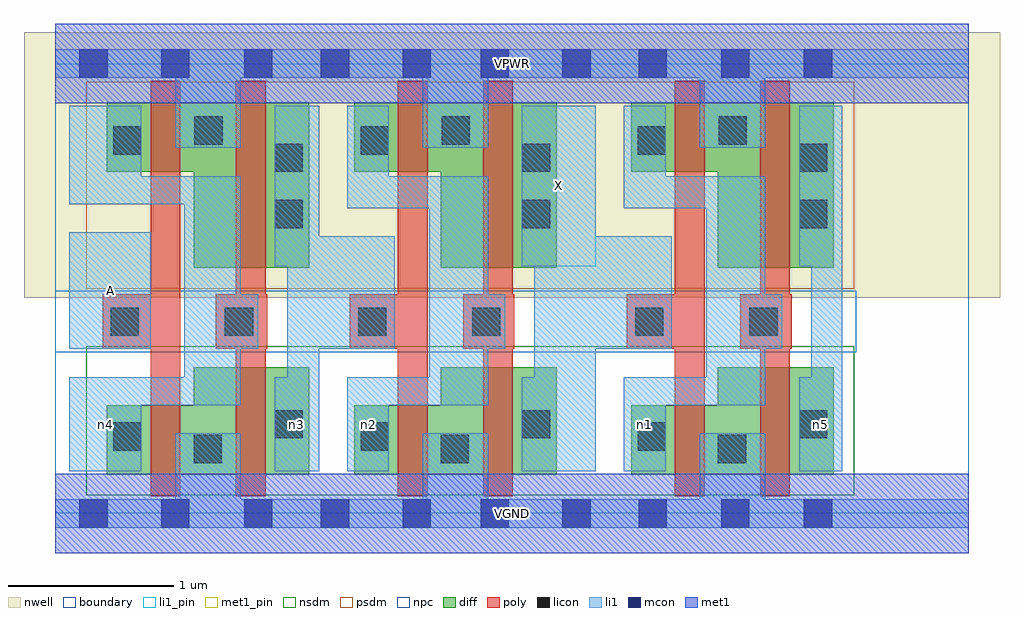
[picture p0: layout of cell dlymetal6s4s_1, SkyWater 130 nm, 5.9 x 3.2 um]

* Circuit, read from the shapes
.subckt dlymetal6s4s_1 A VGND VPWR X n1 n2 n3 n4 n5
XM1 VGND A n4 VSUBS sky130_fd_pr__nfet_01v8 w=0.42 l=0.18
XM2 n3 n4 VGND VSUBS sky130_fd_pr__nfet_01v8 w=0.65 l=0.18
XM3 VGND n3 n2 VSUBS sky130_fd_pr__nfet_01v8 w=0.42 l=0.18
XM4 X n2 VGND VSUBS sky130_fd_pr__nfet_01v8 w=0.65 l=0.18
XM5 VGND X n1 VSUBS sky130_fd_pr__nfet_01v8 w=0.42 l=0.18
XM6 n5 n1 VGND VSUBS sky130_fd_pr__nfet_01v8 w=0.65 l=0.18
XM7 VPWR A n4 n6 sky130_fd_pr__pfet_01v8 w=0.42 l=0.18
XM8 n3 n4 VPWR n6 sky130_fd_pr__pfet_01v8 w=1 l=0.18
XM9 VPWR n3 n2 n6 sky130_fd_pr__pfet_01v8 w=0.42 l=0.18
XM10 X n2 VPWR n6 sky130_fd_pr__pfet_01v8 w=1 l=0.18
XM11 VPWR X n1 n6 sky130_fd_pr__pfet_01v8 w=0.42 l=0.18
XM12 n5 n1 VPWR n6 sky130_fd_pr__pfet_01v8 w=1 l=0.18
.ends

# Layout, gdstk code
import gdstk
lib = gdstk.Library(unit=1e-6, precision=1e-09)
def R(c, l, rs):  # rectangles x0, y0, x1, y1
    for r in rs: c.add(gdstk.rectangle(r[:2], r[2:], *l))
def A(c, l, x, y, w, h, nx, ny, dx, dy):  # array of equal rectangles
    R(c, l, [(x+i*dx, y+j*dy, x+i*dx+w, y+j*dy+h) for i in range(nx) for j in range(ny)])
nwell = (64, 20)
diff = (65, 20)
poly = (66, 20)
licon = (66, 44)
li1_pin = (67, 16)
li1 = (67, 20)
mcon = (67, 44)
met1_pin = (68, 16)
met1 = (68, 20)
nsdm = (93, 44)
psdm = (94, 20)
npc = (95, 20)
boundary = (235, 4)

dlymetal6s4s_1 = lib.new_cell('dlymetal6s4s_1')
R(dlymetal6s4s_1, nwell, [(-0.19,1.305,5.71,2.91), (0,1.305,5.52,2.91)])
R(dlymetal6s4s_1, diff, [(0.31,0.235,1.535,0.655), (0.835,0.235,1.535,0.885), (1.805,0.235,3.03,0.655), (2.33,0.235,3.03,0.885), (3.48,0.235,4.705,0.655), (4.005,0.235,4.705,0.885), (0.835,1.485,1.535,2.485), (2.33,1.485,3.03,2.485), (4.005,1.485,4.705,2.485), (0.31,2.065,1.535,2.485), (1.805,2.065,3.03,2.485), (3.48,2.065,4.705,2.485)])
R(dlymetal6s4s_1, poly, [(0.575,0.105,0.755,2.615), (1.09,0.105,1.27,2.615), (2.07,0.105,2.25,2.615), (2.585,0.105,2.765,2.615), (3.745,0.105,3.925,2.615), (4.26,0.105,4.44,2.615), (0.285,0.995,0.755,1.325), (0.97,0.995,1.28,1.325), (1.78,0.995,2.25,1.325), (2.465,0.995,2.775,1.325), (3.455,0.995,3.925,1.325), (4.14,0.995,4.45,1.325)])
R(dlymetal6s4s_1, licon, [(0.835,0.305,1.005,0.475), (2.33,0.305,2.5,0.475), (4.005,0.305,4.175,0.475), (0.35,0.38,0.52,0.55), (1.845,0.38,2.015,0.55), (3.52,0.38,3.69,0.55), (1.325,0.455,1.495,0.625), (2.82,0.455,2.99,0.625), (4.495,0.455,4.665,0.625), (0.335,1.075,0.505,1.245), (1.025,1.075,1.195,1.245), (1.83,1.075,2,1.245), (2.52,1.075,2.69,1.245), (3.505,1.075,3.675,1.245), (4.195,1.075,4.365,1.245), (1.325,1.725,1.495,1.895), (2.82,1.725,2.99,1.895), (4.495,1.725,4.665,1.895), (1.325,2.065,1.495,2.235), (2.82,2.065,2.99,2.235), (4.495,2.065,4.665,2.235), (0.35,2.17,0.52,2.34), (1.845,2.17,2.015,2.34), (3.52,2.17,3.69,2.34), (0.84,2.23,1.01,2.4), (2.335,2.23,2.505,2.4), (4.01,2.23,4.18,2.4)])
R(dlymetal6s4s_1, li1_pin, [(0.085,0.995,0.575,1.7), (2.82,1.495,3.265,2.465)])
R(dlymetal6s4s_1, li1, [(0,-0.085,5.52,0.085), (0.725,-0.085,1.12,0.485), (2.22,-0.085,2.615,0.485), (3.895,-0.085,4.29,0.485), (0.085,0.255,0.52,0.825), (1.325,0.255,1.595,0.825), (1.4,0.255,1.595,2.465), (1.765,0.255,2.015,0.825), (2.82,0.255,3.265,0.825), (2.895,0.255,3.265,2.465), (3.435,0.255,3.69,0.825), (4.495,0.255,4.755,0.825), (4.57,0.255,4.755,2.465), (0.085,0.655,1.12,0.825), (0.78,0.655,1.12,2.04), (1.765,0.655,2.615,0.825), (2.26,0.655,2.615,2.04), (3.435,0.655,4.29,0.825), (3.935,0.655,4.29,2.04), (0.085,0.995,0.575,1.7), (0.78,0.995,1.225,1.325), (1.4,0.995,2.05,1.675), (2.26,0.995,2.72,1.325), (2.895,0.995,3.725,1.675), (3.935,0.995,4.395,1.325), (1.325,1.495,1.595,2.465), (2.82,1.495,3.265,2.465), (4.495,1.495,4.755,2.465), (1.765,1.845,2.015,2.465), (1.765,1.845,2.615,2.04), (3.435,1.845,3.69,2.465), (3.435,1.845,4.29,2.04), (0.085,1.87,1.12,2.04), (0.085,1.87,0.52,2.465), (0.725,2.21,1.12,2.805), (2.22,2.21,2.615,2.805), (3.895,2.21,4.29,2.805), (0,2.635,5.52,2.805)])
A(dlymetal6s4s_1, mcon, 3.525, -0.085, 0.17, 0.17, 3, 2, 0.5, 2.72)
R(dlymetal6s4s_1, mcon, [(0.145,-0.085,0.315,0.085), (0.64,-0.085,0.81,0.085), (1.14,-0.085,1.31,0.085), (1.605,-0.085,1.775,0.085), (2.1,-0.085,2.27,0.085), (2.57,-0.085,2.74,0.085), (3.065,-0.085,3.235,0.085), (0.145,2.635,0.315,2.805), (0.64,2.635,0.81,2.805), (1.14,2.635,1.31,2.805), (1.605,2.635,1.775,2.805), (2.1,2.635,2.27,2.805), (2.57,2.635,2.74,2.805), (3.065,2.635,3.235,2.805)])
R(dlymetal6s4s_1, met1_pin, [(0,-0.24,5.52,0.24), (0,2.48,5.52,2.96)])
R(dlymetal6s4s_1, met1, [(0,-0.24,5.52,0.24), (0,2.48,5.52,2.96)])
R(dlymetal6s4s_1, nsdm, [(0.185,0.11,4.83,1.01)])
R(dlymetal6s4s_1, psdm, [(0.185,1.36,4.83,2.61)])
R(dlymetal6s4s_1, npc, [(0,0.975,4.84,1.345)])
R(dlymetal6s4s_1, boundary, [(0,0,5.52,2.72)])
dlymetal6s4s_1.add(gdstk.Label('A', (0.33,1.347), layer=67, texttype=5))
dlymetal6s4s_1.add(gdstk.Label('X', (3.042,1.98), layer=67, texttype=5))
dlymetal6s4s_1.add(gdstk.Label('n4', (0.302,0.54), layer=67, texttype=5))
dlymetal6s4s_1.add(gdstk.Label('n3', (1.46,0.54), layer=67, texttype=5))
dlymetal6s4s_1.add(gdstk.Label('n2', (1.89,0.54), layer=67, texttype=5))
dlymetal6s4s_1.add(gdstk.Label('n1', (3.562,0.54), layer=67, texttype=5))
dlymetal6s4s_1.add(gdstk.Label('n5', (4.625,0.54), layer=67, texttype=5))
dlymetal6s4s_1.add(gdstk.Label('VPWR', (2.76,2.72), layer=68, texttype=5))
dlymetal6s4s_1.add(gdstk.Label('VGND', (2.76,0), layer=68, texttype=5))
dlymetal6s4s_1.add(gdstk.Label('A', (0.33,1.347), layer=67, texttype=16))
dlymetal6s4s_1.add(gdstk.Label('X', (3.042,1.98), layer=67, texttype=16))
dlymetal6s4s_1.add(gdstk.Label('VPWR', (2.76,2.72), layer=68, texttype=16))
dlymetal6s4s_1.add(gdstk.Label('VGND', (2.76,0), layer=68, texttype=16))

lib.write_gds('dlymetal6s4s_1.gds')
